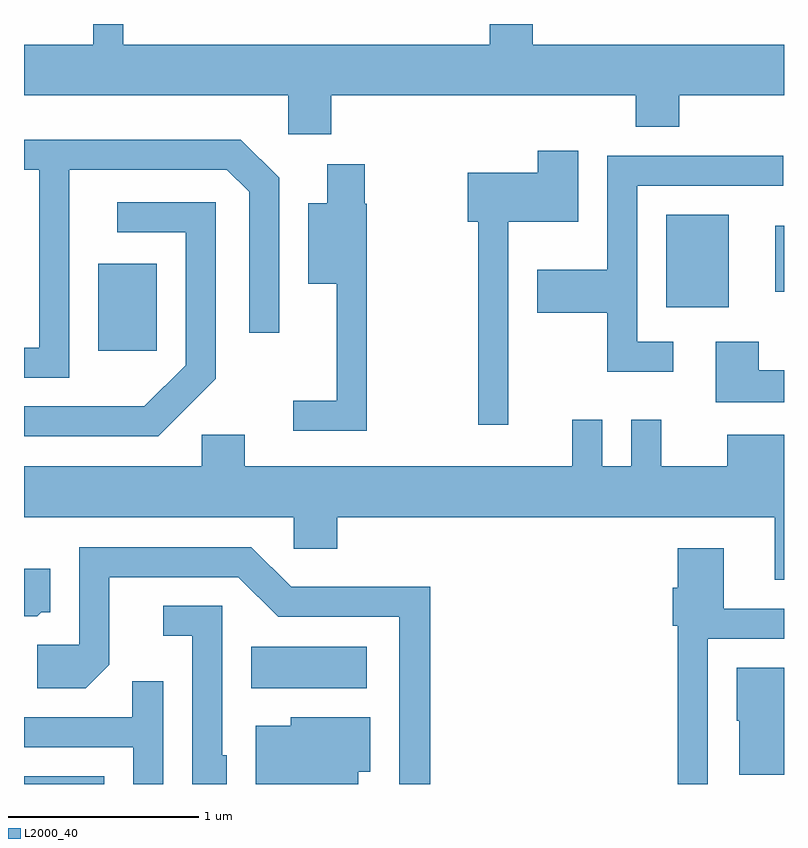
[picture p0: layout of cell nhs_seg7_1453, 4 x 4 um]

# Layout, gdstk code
import gdstk
lib = gdstk.Library(unit=1e-6, precision=1e-09)
def R(c, l, rs):  # rectangles x0, y0, x1, y1
    for r in rs: c.add(gdstk.rectangle(r[:2], r[2:], *l))
def P(c, l, *ps):  # polygons
    for p in ps: c.add(gdstk.Polygon(p, *l))
L2000_40 = (2000, 40)

nhs_seg7_1453 = lib.new_cell('nhs_seg7_1453')
R(nhs_seg7_1453, L2000_40, [(229.611,1706.252,230.034,1706.294), (230.806,1706.756,231.414,1706.974), (230.001,1708.531,230.309,1708.989), (232.991,1708.761,233.319,1709.249), (233.566,1708.843,233.611,1709.189)])
P(nhs_seg7_1453, L2000_40, [(231.229,1709.876),(232.831,1709.876),(232.831,1709.711),(233.059,1709.711),(233.059,1709.876),(233.611,1709.876),(233.611,1710.144),(232.289,1710.144),(232.289,1710.252),(232.061,1710.252),(232.061,1710.144),(230.134,1710.144),(230.134,1710.252),(229.976,1710.252),(229.976,1710.144),(229.611,1710.144),(229.611,1709.876),(231.001,1709.876),(231.001,1709.671),(231.229,1709.671)],
  [(229.849,1709.486),(230.679,1709.486),(230.796,1709.369),(230.796,1708.628),(230.954,1708.628),(230.954,1709.442),(230.752,1709.644),(229.613,1709.644),(229.613,1709.486),(229.691,1709.486),(229.691,1708.549),(229.611,1708.549),(229.611,1708.391),(229.849,1708.391)],
  [(232.159,1709.211),(232.529,1709.211),(232.529,1709.584),(232.316,1709.584),(232.316,1709.469),(231.946,1709.469),(231.946,1709.211),(232.001,1709.211),(232.001,1708.143),(232.159,1708.143)],
  [(233.028,1708.579),(232.839,1708.579),(232.839,1709.401),(233.608,1709.401),(233.608,1709.559),(232.681,1709.559),(232.681,1708.959),(232.311,1708.959),(232.311,1708.731),(232.681,1708.731),(232.681,1708.421),(233.028,1708.421)],
  [(231.414,1709.305),(231.404,1709.305),(231.404,1709.514),(231.206,1709.514),(231.206,1709.309),(231.106,1709.309),(231.106,1708.886),(231.256,1708.886),(231.256,1708.269),(231.028,1708.269),(231.028,1708.111),(231.414,1708.111)],
  [(230.619,1708.384),(230.619,1709.314),(230.103,1709.314),(230.103,1709.156),(230.461,1709.156),(230.461,1708.457),(230.244,1708.239),(229.611,1708.239),(229.611,1708.081),(230.317,1708.081)],
  [(233.611,1708.429),(233.479,1708.429),(233.479,1708.579),(233.251,1708.579),(233.251,1708.261),(233.611,1708.261)],
  [(233.611,1708.089),(233.311,1708.089),(233.311,1707.924),(232.964,1707.924),(232.964,1708.168),(232.806,1708.168),(232.806,1707.924),(232.654,1707.924),(232.654,1708.168),(232.496,1708.168),(232.496,1707.924),(230.774,1707.924),(230.774,1708.089),(230.546,1708.089),(230.546,1707.924),(229.611,1707.924),(229.611,1707.656),(231.031,1707.656),(231.031,1707.491),(231.259,1707.491),(231.259,1707.656),(233.561,1707.656),(233.561,1707.326),(233.611,1707.326)],
  [(231.749,1707.289),(231.017,1707.289),(230.807,1707.499),(229.901,1707.499),(229.901,1706.984),(229.681,1706.984),(229.681,1706.756),(229.937,1706.756),(230.059,1706.879),(230.059,1707.341),(230.739,1707.341),(230.949,1707.131),(231.586,1707.131),(231.586,1706.252),(231.749,1706.252)],
  [(233.209,1707.016),(233.611,1707.016),(233.611,1707.174),(233.294,1707.174),(233.294,1707.494),(233.051,1707.494),(233.051,1707.284),(233.026,1707.284),(233.026,1707.086),(233.051,1707.086),(233.051,1706.252),(233.209,1706.252)],
  [(229.702,1707.156),(229.749,1707.156),(229.749,1707.384),(229.611,1707.384),(229.611,1707.136),(229.682,1707.136)],
  [(230.679,1706.404),(230.654,1706.404),(230.654,1707.189),(230.343,1707.189),(230.343,1707.031),(230.496,1707.031),(230.496,1706.252),(230.679,1706.252)],
  [(233.611,1706.864),(233.361,1706.864),(233.361,1706.585),(233.376,1706.585),(233.376,1706.301),(233.611,1706.301)],
  [(230.344,1706.793),(230.181,1706.793),(230.181,1706.604),(229.611,1706.604),(229.611,1706.446),(230.186,1706.446),(230.186,1706.252),(230.344,1706.252)],
  [(231.369,1706.316),(231.434,1706.316),(231.434,1706.604),(231.016,1706.604),(231.016,1706.559),(230.831,1706.559),(230.831,1706.252),(231.369,1706.252)])

lib.write_gds('nhs_seg7_1453.gds')
